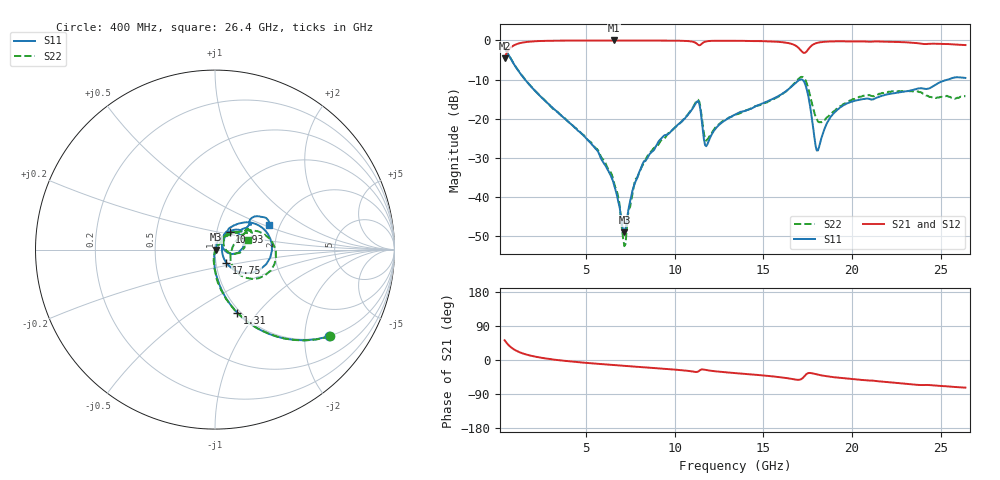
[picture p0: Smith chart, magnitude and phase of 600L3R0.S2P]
!  American Technical Ceramics  Date:  10/27/06
!  One Norden Lane
!  Huntington Station,  NY.  11746-2102
!  Tel:  (631) 622-4700  Fax:  (631) 622-4748
!  Part Number  600L3R0		Mounting Orientation:  Horizontal
!  Description: Ultra Low ESR Microwave capacitors
!  Application: Coupling, Bypass, Tuning, DC Block
!  Filters, Matching
# GHZ S DB R 50
! Freq  |S11|  S11 Ph  |S21|  S21 Ph  |S12|  S12 Ph  |S22|  S22 Ph
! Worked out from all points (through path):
!   401 points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, 400 MHz to 26.4 GHz, reference 50 ohm
!   highest |S21| = -0.03 dB at 6.575 GHz (marker M1); lowest = -4.5 dB at 400 MHz (marker M2)
!   group delay of S21, straight-line fit = 9.2 ps
!   lowest |S11| = -49.0 dB at 7.16 GHz (marker M3), VSWR 1.01, Z = 50.4 - j0.0404 ohm
!   |S11| at or under -10 dB: 1.551 GHz to 17.08 GHz (15.53 GHz wide, 167 % of centre); 17.18 GHz to 25.43 GHz (8.244 GHz wide, 38.7 % of centre)
!   |S22| runs from -52.5 to -1.9 dB; largest |S21 - S12| = 0.0049
!   S11 on the Smith chart (normalised r, x): 400 MHz: 0.99, -2.63; 1.31 GHz: 0.97, -0.79; 10.93 GHz: 1.16, +0.23; 17.75 GHz: 1.12, -0.16; 26.4 GHz: 1.77, +0.54
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0.4  -1.96 -37.3  -4.53 52.2  -4.50 52.2  -1.92 -37.1
0.855  -5.55 -59.5  -1.46 30.2  -1.44 30.2  -5.51 -59.3
1.31  -8.60 -70.6  -0.66 19.3  -0.64 19.2  -8.57 -70.6
4.755  -23.83 -93.5  -0.04 -6.5  -0.03 -6.7  -23.81 -97.0
5.6  -27.91 -95.8  -0.05 -9.9  -0.04 -10.0  -27.66 -101.0
6.575  -36.80 -86.3  -0.03 -13.4  -0.03 -13.6  -36.33 -97.2
7.16  -48.96 -6.5  -0.03 -15.4  -0.04 -15.6  -52.47 -49.5
7.81  -35.77 62.2  -0.03 -17.7  -0.04 -17.9  -35.25 57.9
9.11  -25.63 71.7  -0.06 -22.2  -0.08 -22.4  -26.39 52.8
10.93  -17.88 49.8  -0.28 -29.8  -0.28 -29.9  -17.75 47.7
11.32  -15.52 16.4  -1.13 -30.5  -1.14 -30.6  -15.16 16.4
11.775  -26.99 23.1  -0.28 -26.4  -0.28 -26.5  -25.58 15.6
13.4  -18.94 57.9  -0.11 -34.5  -0.12 -34.5  -19.07 46.8
16.39  -12.56 40.2  -0.68 -48.3  -0.70 -48.3  -12.58 27.0
17.105  -9.95 5.6  -2.50 -51.2  -2.52 -51.1  -9.38 -1.8
17.43  -12.16 -31.4  -2.88 -37.3  -2.90 -37.2  -10.73 -33.4
17.755  -20.41 -49.2  -1.23 -35.1  -1.25 -35.0  -16.33 -45.8
18.08  -28.07 11.7  -0.60 -38.8  -0.62 -38.7  -20.68 -22.1
18.665  -20.49 52.2  -0.30 -43.4  -0.32 -43.3  -19.42 14.2
19.315  -17.18 49.2  -0.24 -47.1  -0.26 -47.0  -16.86 25.4
22.11  -13.66 35.3  -0.38 -58.7  -0.40 -58.5  -13.09 31.1
26.4  -9.58 24.0  -1.21 -73.0  -1.22 -72.7  -14.30 15.5
